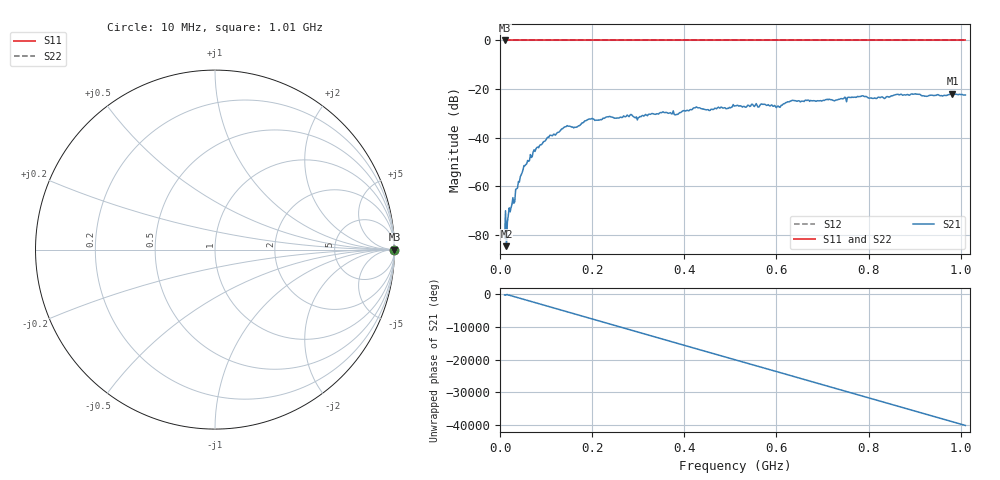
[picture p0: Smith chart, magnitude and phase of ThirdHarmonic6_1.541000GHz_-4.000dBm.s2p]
! 8/16/2025 6:16:18 PM
! C:\ANRITSUVNA\TEMP\TEMP.S2P
! CHANNEL.1
! TR.MEASUREMENT
! RAW.DATA
! RF.CORRECTION.OFF
! AVERAGING.OFF
! IF.BANDWIDTH: 5KHZ
! SWEEPTYPE:  FREQ.SWEEP(Linear)
! Reference Plane Port Info
! PORT:  PORT1  PORT2
! DISTANCE:  0  m  0  m
! TIME:  0  s  0  s
! PHASE.OFFSET:  0  deg.  0  deg.
! LOSS:  0  dB  0  dB
! REF.LOSS:  0  dB  0  dB
! REF.FREQ:  0  Hz  0  Hz
! Power Info
! POWER:  -20  dBm  -20  dBm
! EFF.POWER:  -20  dBm  -20  dBm
! SOURCE.ATTEN:  0  dB  0  dB
! TEST.ATTEN:  0  dB  0  dB
# GHZ S RI R 50.0
! FREQ.GHZ  S11RE  S11IM  S21RE  S21IM  S12RE  S12IM  S22RE  S22IM
!; PortSelection: Port_12
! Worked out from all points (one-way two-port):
!   501 points, 10 MHz to 1.01 GHz, reference 50 ohm
!   highest |S21| = -21.92 dB at 982 MHz (marker M1); lowest = -84.7 dB at 14 MHz (marker M2)
!   lowest |S11| = 0.0 dB at 10 MHz (marker M3)
!   |S11| at or under -10 dB: nowhere
!   |S22| runs from 0.0 to 0.0 dB; largest |S21 - S12| = 1.1
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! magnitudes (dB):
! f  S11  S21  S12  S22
! 10 MHz  0.0  -81.3  0.0  0.0
! 14 MHz  0.0  -84.7  0.0  0.0
! 48 MHz  0.0  -54.5  0.0  0.0
! 76 MHz  0.0  -45.7  0.0  0.0
! 106 MHz  0.0  -39.9  0.0  0.0
! 142 MHz  0.0  -35.6  0.0  0.0
! 164 MHz  0.0  -35.8  0.0  0.0
! 178 MHz  0.0  -33.9  0.0  0.0
! 196 MHz  0.0  -32.4  0.0  0.0
! 282 MHz  0.0  -30.8  0.0  0.0
! 298 MHz  0.0  -32.7  0.0  0.0
! 344 MHz  0.0  -30.3  0.0  0.0
! 382 MHz  0.0  -30.5  0.0  0.0
! 424 MHz  0.0  -27.7  0.0  0.0
! 452 MHz  0.0  -28.5  0.0  0.0
! 510 MHz  0.0  -27.0  0.0  0.0
! 604 MHz  0.0  -27.0  0.0  0.0
! 634 MHz  0.0  -24.7  0.0  0.0
! 678 MHz  0.0  -24.9  0.0  0.0
! 844 MHz  0.0  -23.3  0.0  0.0
! 982 MHz  0.0  -21.9  0.0  0.0
! 1.01 GHz  0.0  -22.4  0.0  0.0
